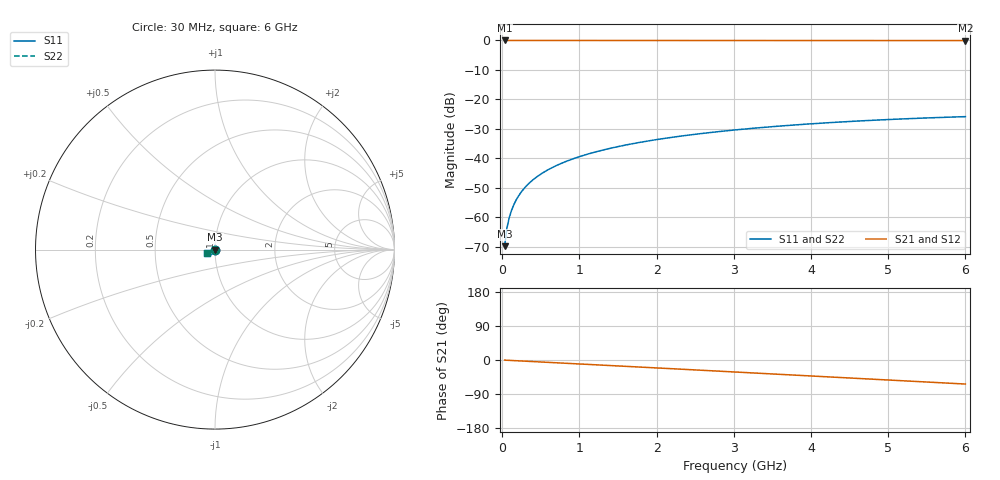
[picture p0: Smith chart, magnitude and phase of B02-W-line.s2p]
! yapnr Order 0 O0-W: O0-W B02 W dL5 (line, family W)
! stackup OSHPARK-4L-EM528, nominal parameters; geometry of the OSHPARK-4L-FR408HR design
! model: 2D quasi-static RLGC (Djordjevic-Sarkar, Huray roughness, Wheeler loss); generated by python -m yapnr.rf.coupons expected --stackup OSHPARK-4L-FR408HR --upload W
! reference planes 10 mm from each end; 50 ohm (from the W line's Zc)
# GHz S DB R 50
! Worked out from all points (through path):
!   200 points, 30 MHz to 6 GHz, reference 50 ohm
!   highest |S21| = 0.00 dB at 30 MHz (marker M1); lowest = 0.0 dB at 6 GHz (marker M2)
!   group delay of S21, straight-line fit = 29.4 ps
!   lowest |S11| = -69.8 dB at 30 MHz (marker M3), VSWR 1.00, Z = 50 - j0.0325 ohm
!   |S11| at or under -10 dB: start of sweep to end of sweep
!   |S22| runs from -69.8 to -25.8 dB; largest |S21 - S12| = 0
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0.03  -69.75 -86.5  -0.00 -0.3  -0.00 -0.3  -69.75 -86.5
0.06  -63.64 -88.6  -0.00 -0.6  -0.00 -0.6  -63.64 -88.6
0.09  -60.09 -89.7  -0.00 -0.9  -0.00 -0.9  -60.09 -89.7
0.12  -57.59 -90.5  -0.00 -1.3  -0.00 -1.3  -57.59 -90.5
0.15  -55.66 -91.1  -0.00 -1.6  -0.00 -1.6  -55.66 -91.1
0.18  -54.08 -91.6  -0.00 -1.9  -0.00 -1.9  -54.08 -91.6
0.21  -52.75 -92.1  -0.00 -2.2  -0.00 -2.2  -52.75 -92.1
0.24  -51.60 -92.6  -0.00 -2.5  -0.00 -2.5  -51.60 -92.6
0.3  -49.68 -93.4  -0.00 -3.1  -0.00 -3.1  -49.68 -93.4
0.42  -46.79 -94.9  -0.00 -4.4  -0.00 -4.4  -46.79 -94.9
0.51  -45.12 -96.0  -0.00 -5.3  -0.00 -5.3  -45.12 -96.0
0.6  -43.74 -97.1  -0.00 -6.3  -0.00 -6.3  -43.74 -97.1
0.81  -41.18 -99.4  -0.01 -8.5  -0.01 -8.5  -41.18 -99.4
1.05  -38.98 -102.1  -0.01 -11.0  -0.01 -11.0  -38.98 -102.1
1.26  -37.44 -104.3  -0.01 -13.2  -0.01 -13.2  -37.44 -104.3
1.5  -35.98 -106.9  -0.01 -15.7  -0.01 -15.7  -35.98 -106.9
2.04  -33.45 -112.7  -0.01 -21.3  -0.01 -21.3  -33.45 -112.7
2.49  -31.84 -117.5  -0.02 -26.1  -0.02 -26.1  -31.84 -117.5
3.03  -30.31 -123.3  -0.02 -31.8  -0.02 -31.8  -30.31 -123.3
4.02  -28.23 -133.8  -0.03 -42.2  -0.03 -42.2  -28.23 -133.8
5.01  -26.80 -144.4  -0.03 -52.8  -0.03 -52.8  -26.80 -144.4
6  -25.83 -155.1  -0.04 -63.5  -0.04 -63.5  -25.83 -155.1
